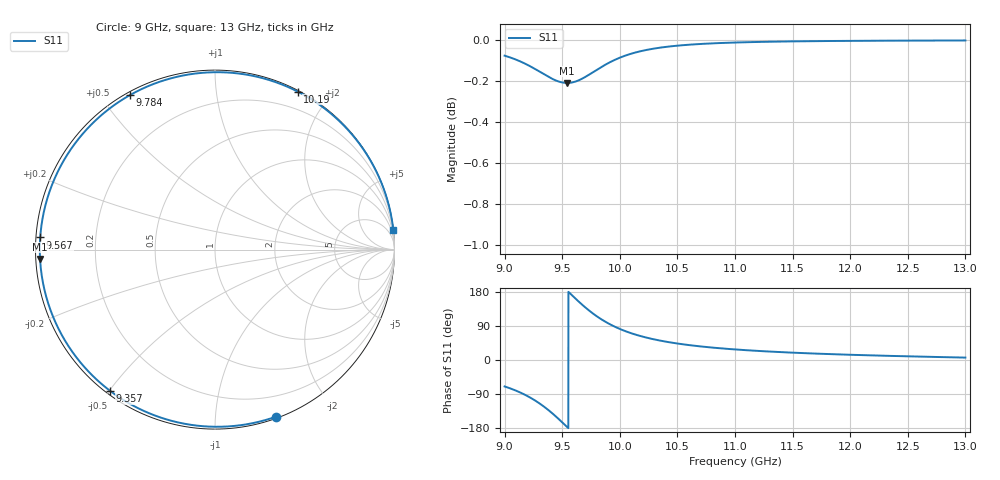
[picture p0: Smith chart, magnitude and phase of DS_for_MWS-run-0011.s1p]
! TOUCHSTONE file generated by CST DESIGN STUDIO
! Date and time: Tue Feb  4 17:50:59 2025
! Project name: C:\Work\MatlabApps\UnitCellOptimizationMatlab\CST\unitcell.cst
! Tree item: Tasks\Sweep1\SPara1\S-Parameters
! Header version: 2024
! Port assignment regex: !\s*Touchstone port\s*([0-9]+)\s*=\s*(CST MWS port|CST DES external port|CST DES block port)\s*(.+)\s* \(\"(.*)\"\)(\s*mode\s*([0-9]+))?.*
! Touchstone port assignment:
! Touchstone port 1 = CST DES external port 1 ("")
# GHz S MA R 50
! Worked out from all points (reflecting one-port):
!   4001 points, 9 GHz to 13 GHz, reference 50 ohm
!   lowest |S11| = -0.2 dB at 9.543 GHz (marker M1), VSWR 82.53, Z = 0.606 - j1.34 ohm
!   phase of S11 starts at -70 deg and turns -284 deg over the sweep
!   S11 on the Smith chart (normalised r, x): 9 GHz: 0.01, -1.43; 9.357 GHz: 0.01, -0.50; 9.567 GHz: 0.01, +0.03; 9.784 GHz: 0.01, +0.59; 10.19 GHz: 0.01, +1.65; 13 GHz: 0, +18
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9  0.9911 -69.8
9.102  0.9888 -81.3
9.212  0.9856 -97.4
9.288  0.9828 -111.5
9.357  0.9803 -126.6
9.426  0.9779 -143.9
9.465  0.9769 -154.5
9.5  0.9763 -164.4
9.543  0.9761 -176.9
9.567  0.9761 176.0
9.622  0.977 160.1
9.682  0.9787 143.6
9.733  0.9806 130.6
9.784  0.9826 118.8
9.83  0.9844 109.3
9.88  0.9863 100.0
9.936  0.9881 90.9
10  0.99 82.0
10.091  0.992 71.5
10.189  0.9937 62.4
10.331  0.9954 52.3
10.5  0.9967 43.5
10.721  0.9977 35.2
11  0.9984 27.9
11.5  0.999 19.4
12  0.9993 13.8
12.5  0.9995 9.7
13  0.9996 6.4
